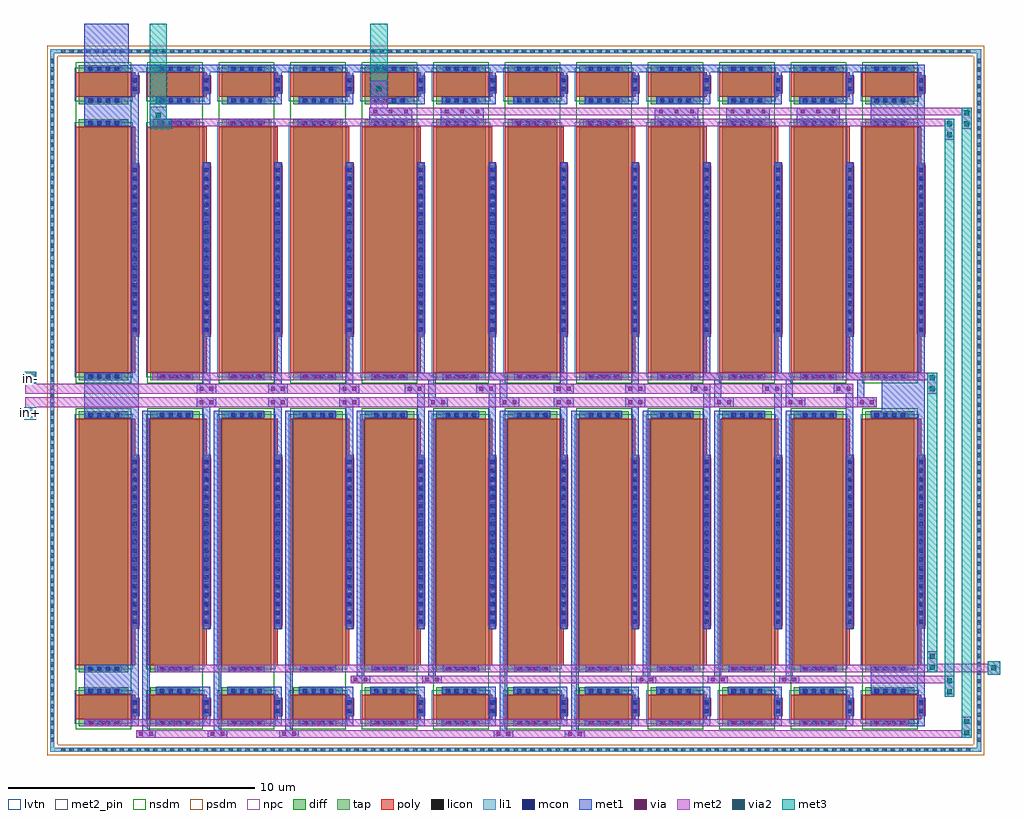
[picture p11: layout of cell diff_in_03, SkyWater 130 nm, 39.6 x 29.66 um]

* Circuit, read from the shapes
.subckt diff_in_03 in+ in-
XM1 n1 n1 n1 VSUBS sky130_fd_pr__nfet_01v8_lvt w=2 l=1 m=24
XM2 n1 n1 n1 VSUBS sky130_fd_pr__nfet_01v8_lvt w=2 l=10 m=4
XM3 n2 in+ n3 VSUBS sky130_fd_pr__nfet_01v8_lvt w=2 l=10 m=10
XM4 n4 in- n3 VSUBS sky130_fd_pr__nfet_01v8_lvt w=2 l=10 m=10
.ends

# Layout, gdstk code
from math import pi, radians
import gdstk
lib = gdstk.Library(unit=1e-6, precision=1e-09)
def R(c, l, rs):  # rectangles x0, y0, x1, y1
    for r in rs: c.add(gdstk.rectangle(r[:2], r[2:], *l))
def A(c, l, x, y, w, h, nx, ny, dx, dy):  # array of equal rectangles
    R(c, l, [(x+i*dx, y+j*dy, x+i*dx+w, y+j*dy+h) for i in range(nx) for j in range(ny)])
diff = (65, 20)
tap = (65, 44)
poly = (66, 20)
licon = (66, 44)
li1 = (67, 20)
mcon = (67, 44)
met1 = (68, 20)
via = (68, 44)
met2_pin = (69, 16)
met2 = (69, 20)
via2 = (69, 44)
met3 = (70, 20)
nsdm = (93, 44)
psdm = (94, 20)
npc = (95, 20)
lvtn = (125, 44)

sky130_fd_pr__nfet_01v8_ = lib.new_cell('sky130_fd_pr__nfet_01v8_lvt_VVFJJL')
R(sky130_fd_pr__nfet_01v8_, diff, [(-5.29,-1.155,5.29,0.845)])
R(sky130_fd_pr__nfet_01v8_, poly, [(-5,-1.285,5,1.12), (-3.525,1.12,3.525,1.285)])
A(sky130_fd_pr__nfet_01v8_, licon, -5.23, -0.75, 0.17, 0.17, 1, 4, 0, 0.34)
A(sky130_fd_pr__nfet_01v8_, licon, 5.06, -0.75, 0.17, 0.17, 1, 4, 0, 0.34)
A(sky130_fd_pr__nfet_01v8_, licon, -3.315, 1.035, 0.17, 0.17, 20, 1, 0.34, 0)
R(sky130_fd_pr__nfet_01v8_, li1, [(-5.23,-0.895,-5.06,0.585), (5.06,-0.895,5.23,0.585), (-3.525,1.035,3.525,1.205)])
A(sky130_fd_pr__nfet_01v8_, mcon, -5.23, -0.78, 0.17, 0.17, 1, 4, 0, 0.36)
A(sky130_fd_pr__nfet_01v8_, mcon, 5.06, -0.78, 0.17, 0.17, 1, 4, 0, 0.36)
A(sky130_fd_pr__nfet_01v8_, mcon, -3.325, 1.035, 0.17, 0.17, 19, 1, 0.36, 0)
R(sky130_fd_pr__nfet_01v8_, met1, [(-5.26,-0.875,-5.03,0.565), (5.03,-0.875,5.26,0.565), (-3.505,1.005,3.505,1.235)])
R(sky130_fd_pr__nfet_01v8_, nsdm, [(-5.415,-1.28,5.415,0.97)])
R(sky130_fd_pr__nfet_01v8_, npc, [(-3.415,0.935,3.415,1.305)])
R(sky130_fd_pr__nfet_01v8_, lvtn, [(-5.18,-1.335,5.18,1.025)])

c_sky130_fd_pr__nfet_01v8_ = lib.new_cell('sky130_fd_pr__nfet_01v8_lvt_ND6TEZ')
R(c_sky130_fd_pr__nfet_01v8_, diff, [(-0.79,-1.155,0.79,0.845)])
R(c_sky130_fd_pr__nfet_01v8_, poly, [(-0.5,-1.285,0.5,1.12), (-0.375,1.12,0.375,1.285)])
A(c_sky130_fd_pr__nfet_01v8_, licon, -0.73, -0.75, 0.17, 0.17, 1, 4, 0, 0.34)
A(c_sky130_fd_pr__nfet_01v8_, licon, 0.56, -0.75, 0.17, 0.17, 1, 4, 0, 0.34)
R(c_sky130_fd_pr__nfet_01v8_, licon, [(-0.255,1.035,-0.085,1.205), (0.085,1.035,0.255,1.205)])
R(c_sky130_fd_pr__nfet_01v8_, li1, [(-0.73,-0.895,-0.56,0.585), (0.56,-0.895,0.73,0.585), (-0.375,1.035,0.375,1.205)])
A(c_sky130_fd_pr__nfet_01v8_, mcon, -0.73, -0.78, 0.17, 0.17, 1, 4, 0, 0.36)
A(c_sky130_fd_pr__nfet_01v8_, mcon, 0.56, -0.78, 0.17, 0.17, 1, 4, 0, 0.36)
R(c_sky130_fd_pr__nfet_01v8_, mcon, [(-0.265,1.035,-0.095,1.205), (0.095,1.035,0.265,1.205)])
R(c_sky130_fd_pr__nfet_01v8_, met1, [(-0.76,-0.875,-0.53,0.565), (0.53,-0.875,0.76,0.565), (-0.355,1.005,0.355,1.235)])
R(c_sky130_fd_pr__nfet_01v8_, nsdm, [(-0.915,-1.28,0.915,0.97)])
R(c_sky130_fd_pr__nfet_01v8_, npc, [(-0.355,0.935,0.355,1.305)])
R(c_sky130_fd_pr__nfet_01v8_, lvtn, [(-0.68,-1.335,0.68,1.025)])

diff_in_03 = lib.new_cell('diff_in_03')
R(diff_in_03, diff, [(9.1,23.45,9.7,23.75), (9.1,23.75,9.6,23.9)])
R(diff_in_03, tap, [(-3.985,-3.235,33.785,-3.065), (-3.985,-3.065,-3.815,25.115), (33.615,-3.065,33.785,25.115), (-3.985,25.115,33.785,25.285)])
R(diff_in_03, poly, [(9.1,23.45,9.7,23.75), (9.1,23.75,9.6,23.9)])
A(diff_in_03, licon, -3.545, -3.235, 0.17, 0.17, 109, 2, 0.34, 28.35)
A(diff_in_03, licon, -3.985, -2.83, 0.17, 0.17, 1, 82, 0, 0.34)
A(diff_in_03, licon, 33.615, -2.83, 0.17, 0.17, 1, 82, 0, 0.34)
R(diff_in_03, li1, [(-3.985,-3.235,33.785,-3.065), (-3.985,-3.065,-3.815,25.115), (33.615,-3.065,33.785,25.115), (-3.985,25.115,33.785,25.285)])
A(diff_in_03, met1, -0.5, -2.65, 0.8, 0.3, 3, 1, 2.9, 0)
A(diff_in_03, met1, -0.25, -2.35, 0.3, 12.65, 3, 1, 2.9, 0)
A(diff_in_03, met1, -2.6, -2.2, 2.2, 0.3, 12, 1, 2.9, 0)
A(diff_in_03, met1, -0.7, -1.9, 0.3, 1, 12, 2, 2.9, 25.25)
A(diff_in_03, met1, 0.3, -0.9, 2.2, 0.3, 10, 1, 2.9, 0)
A(diff_in_03, met1, 19.8, -0.45, 0.8, 0.3, 3, 1, 2.9, 0)
A(diff_in_03, met1, 20.05, -0.15, 0.3, 10.45, 3, 1, 2.9, 0)
A(diff_in_03, met1, 0.35, 0, 1.45, 0.3, 10, 2, 2.9, 11.85)
A(diff_in_03, met1, 2.2, 1.75, 0.3, 9, 3, 2, 2.9, 9.95)
A(diff_in_03, met1, 22.5, 1.75, 0.3, 9.55, 3, 1, 2.9, 0)
A(diff_in_03, met1, -0.25, 10.3, 2.05, 0.3, 10, 1, 2.9, 0)
A(diff_in_03, met1, 1.95, 10.75, 0.8, 0.4, 3, 2, 2.9, 0.55)
A(diff_in_03, met1, 22.95, 10.75, 0.8, 0.4, 3, 1, 2.9, 0)
A(diff_in_03, met1, 22.95, 11.15, 0.3, 0.7, 3, 1, 2.9, 0)
A(diff_in_03, met1, 22, 11.3, 0.8, 0.4, 3, 1, 2.9, 0)
A(diff_in_03, met1, 22.5, 11.85, 0.75, 0.3, 3, 1, 2.9, 0)
A(diff_in_03, met1, 22.5, 12.15, 0.3, 8.55, 3, 1, 2.9, 0)
A(diff_in_03, met1, 0.3, 23.05, 2.2, 0.3, 3, 1, 2.9, 0)
A(diff_in_03, met1, 11.9, 23.05, 2.2, 0.3, 6, 1, 2.9, 0)
R(diff_in_03, met1, [(14,-2.65,14.8,-2.35), (16.9,-2.65,17.7,-2.35), (14.25,-2.35,14.55,10.3), (17.15,-2.35,17.45,10.3), (-2.6,-0.9,-0.4,0.3), (29.3,-0.9,31.5,0.3), (8.2,-0.45,9,-0.15), (11.1,-0.45,11.9,-0.15), (8.45,-0.15,8.75,10.3), (11.35,-0.15,11.65,10.3), (-0.7,0.3,-0.4,10.3), (31.2,0.3,31.5,10.3), (10.9,1.75,11.2,11.3), (13.8,1.75,14.1,11.3), (16.7,1.75,17,10.75), (19.6,1.75,19.9,10.75), (-2.6,10.3,-0.4,12.15), (29.3,10.3,31.5,10.6), (29.75,10.6,31.5,11.85), (11.35,10.75,12.15,11.15), (14.25,10.75,15.05,11.15), (16.45,10.75,17.25,11.15), (19.35,10.75,20.15,11.15), (11.35,11.15,11.65,11.85), (14.25,11.15,14.55,11.85), (10.4,11.3,11.2,11.7), (13.3,11.3,14.1,11.7), (16.45,11.3,17.25,11.7), (19.35,11.3,20.15,11.7), (16.7,11.7,17,20.7), (19.6,11.7,19.9,20.7), (10.9,11.85,11.65,12.15), (13.8,11.85,14.55,12.15), (29.3,11.85,31.5,12.15), (-0.7,12.15,-0.4,22.15), (10.9,12.15,11.2,20.7), (13.8,12.15,14.1,20.7), (31.2,12.15,31.5,22.15), (-2.6,22.15,-0.4,23.35), (0.2,22.15,1.95,22.45), (3.15,22.15,4.9,22.45), (6.05,22.15,7.8,22.45), (8.95,22.15,10.7,22.9), (11.85,22.15,13.6,22.9), (14.75,22.15,16.5,22.45), (17.65,22.15,19.4,22.45), (20.55,22.15,22.3,22.9), (23.45,22.15,25.2,22.9), (26.3,22.15,28.05,22.9), (29.3,22.15,31.5,23.35), (9,23.05,9.7,23.35), (10.05,23.05,11.2,23.35), (-2.6,24.35,31.5,24.65), (-2.6,24.65,-0.8,26.3)])
A(diff_in_03, via, -2.375, -2.125, 0.15, 0.15, 3, 1, 0.5, 0)
A(diff_in_03, via, 0.525, -2.125, 0.15, 0.15, 3, 1, 0.5, 0)
A(diff_in_03, via, 3.425, -2.125, 0.15, 0.15, 3, 1, 0.5, 0)
A(diff_in_03, via, 6.325, -2.125, 0.15, 0.15, 3, 1, 0.5, 0)
A(diff_in_03, via, 9.225, -2.125, 0.15, 0.15, 3, 1, 0.5, 0)
A(diff_in_03, via, 12.125, -2.125, 0.15, 0.15, 3, 1, 0.5, 0)
A(diff_in_03, via, 15.025, -2.125, 0.15, 0.15, 3, 1, 0.5, 0)
A(diff_in_03, via, 17.925, -2.125, 0.15, 0.15, 3, 1, 0.5, 0)
A(diff_in_03, via, 20.825, -2.125, 0.15, 0.15, 3, 1, 0.5, 0)
A(diff_in_03, via, 23.725, -2.125, 0.15, 0.15, 3, 1, 0.5, 0)
A(diff_in_03, via, 26.575, -2.125, 0.15, 0.15, 3, 1, 0.5, 0)
A(diff_in_03, via, 29.475, -2.125, 0.15, 0.15, 3, 1, 0.5, 0)
A(diff_in_03, via, 0.525, 0.075, 0.15, 0.15, 3, 2, 0.475, 11.85)
A(diff_in_03, via, 3.425, 0.075, 0.15, 0.15, 3, 2, 0.475, 11.85)
A(diff_in_03, via, 6.325, 0.075, 0.15, 0.15, 3, 2, 0.475, 11.85)
A(diff_in_03, via, 9.225, 0.075, 0.15, 0.15, 3, 2, 0.475, 11.85)
A(diff_in_03, via, 12.125, 0.075, 0.15, 0.15, 3, 2, 0.475, 11.85)
A(diff_in_03, via, 15.025, 0.075, 0.15, 0.15, 3, 2, 0.475, 11.85)
A(diff_in_03, via, 17.925, 0.075, 0.15, 0.15, 3, 2, 0.475, 11.85)
A(diff_in_03, via, 20.825, 0.075, 0.15, 0.15, 3, 2, 0.475, 11.85)
A(diff_in_03, via, 23.725, 0.075, 0.15, 0.15, 3, 2, 0.475, 11.85)
A(diff_in_03, via, 26.625, 0.075, 0.15, 0.15, 3, 2, 0.475, 11.85)
A(diff_in_03, via, 0.375, 22.225, 0.15, 0.15, 3, 1, 0.625, 0)
A(diff_in_03, via, 3.325, 22.225, 0.15, 0.15, 3, 1, 0.625, 0)
A(diff_in_03, via, 6.225, 22.225, 0.15, 0.15, 3, 1, 0.625, 0)
A(diff_in_03, via, 14.925, 22.225, 0.15, 0.15, 3, 1, 0.625, 0)
A(diff_in_03, via, 17.825, 22.225, 0.15, 0.15, 3, 1, 0.625, 0)
A(diff_in_03, via, 9.125, 22.675, 0.15, 0.15, 3, 1, 0.625, 0)
A(diff_in_03, via, 12.025, 22.675, 0.15, 0.15, 3, 1, 0.625, 0)
A(diff_in_03, via, 20.725, 22.675, 0.15, 0.15, 3, 1, 0.625, 0)
A(diff_in_03, via, 23.625, 22.675, 0.15, 0.15, 3, 1, 0.625, 0)
A(diff_in_03, via, 26.475, 22.675, 0.15, 0.15, 3, 1, 0.625, 0)
R(diff_in_03, via, [(-0.375,-2.575,-0.225,-2.425), (0.025,-2.575,0.175,-2.425), (2.525,-2.575,2.675,-2.425), (2.925,-2.575,3.075,-2.425), (5.425,-2.575,5.575,-2.425), (5.825,-2.575,5.975,-2.425), (14.125,-2.575,14.275,-2.425), (14.525,-2.575,14.675,-2.425), (17.025,-2.575,17.175,-2.425), (17.425,-2.575,17.575,-2.425), (8.325,-0.375,8.475,-0.225), (8.725,-0.375,8.875,-0.225), (11.225,-0.375,11.375,-0.225), (11.625,-0.375,11.775,-0.225), (19.925,-0.375,20.075,-0.225), (20.325,-0.375,20.475,-0.225), (22.825,-0.375,22.975,-0.225), (23.225,-0.375,23.375,-0.225), (25.725,-0.375,25.875,-0.225), (26.125,-0.375,26.275,-0.225), (2.075,10.875,2.225,11.025), (2.475,10.875,2.625,11.025), (4.975,10.875,5.125,11.025), (5.375,10.875,5.525,11.025), (7.875,10.875,8.025,11.025), (8.275,10.875,8.425,11.025), (11.475,10.875,11.625,11.025), (11.875,10.875,12.025,11.025), (14.375,10.875,14.525,11.025), (14.775,10.875,14.925,11.025), (16.575,10.875,16.725,11.025), (16.975,10.875,17.125,11.025), (19.475,10.875,19.625,11.025), (19.875,10.875,20.025,11.025), (23.075,10.875,23.225,11.025), (23.475,10.875,23.625,11.025), (25.975,10.875,26.125,11.025), (26.375,10.875,26.525,11.025), (28.875,10.875,29.025,11.025), (29.275,10.875,29.425,11.025), (2.075,11.425,2.225,11.575), (2.475,11.425,2.625,11.575), (4.975,11.425,5.125,11.575), (5.375,11.425,5.525,11.575), (7.875,11.425,8.025,11.575), (8.275,11.425,8.425,11.575), (10.525,11.425,10.675,11.575), (10.925,11.425,11.075,11.575), (13.425,11.425,13.575,11.575), (13.825,11.425,13.975,11.575), (16.575,11.425,16.725,11.575), (16.975,11.425,17.125,11.575), (19.475,11.425,19.625,11.575), (19.875,11.425,20.025,11.575), (22.125,11.425,22.275,11.575), (22.525,11.425,22.675,11.575), (25.025,11.425,25.175,11.575), (25.425,11.425,25.575,11.575), (27.925,11.425,28.075,11.575), (28.325,11.425,28.475,11.575)])
R(diff_in_03, met2_pin, [(-5,10.35,-4.6,10.75), (-5,11.7,-4.6,12.1)])
R(diff_in_03, met2, [(-0.5,-2.65,33.4,-2.35), (33,-2.35,33.4,-1.8), (-2.6,-2.2,30.85,-1.9), (32.3,-1,32.7,-0.45), (8.2,-0.45,32.7,-0.15), (34.05,-0.1,34.55,0), (0.25,0,34.55,0.3), (31.6,0.3,34.55,0.35), (31.6,0.35,32,0.85), (34.05,0.35,34.55,0.45), (-5.05,10.25,-4.55,10.75), (-5,10.75,29.55,11.15), (-5,11.3,28.6,11.7), (31.6,11.3,32,11.85), (-5.05,11.7,-4.55,12.2), (0.15,11.85,32,12.15), (32.3,21.6,32.7,22.15), (33,22.05,33.4,22.6), (0.05,22.15,32.7,22.45), (0.05,22.45,0.75,22.95), (8.95,22.6,33.4,22.9), (9,22.9,9.7,24)])
R(diff_in_03, via2, [(33.1,-2.55,33.3,-2.35), (33.1,-2.1,33.3,-1.9), (32.4,-0.9,32.6,-0.7), (32.4,-0.45,32.6,-0.25), (34.2,0.075,34.4,0.275), (31.7,0.1,31.9,0.3), (31.7,0.55,31.9,0.75), (-4.9,10.4,-4.7,10.6), (31.7,11.4,31.9,11.6), (-4.9,11.85,-4.7,12.05), (31.7,11.85,31.9,12.05), (32.4,21.7,32.6,21.9), (32.4,22.15,32.6,22.35), (33.1,22.15,33.3,22.35), (0.3,22.5,0.5,22.7), (33.1,22.6,33.3,22.8), (9.25,23.575,9.45,23.775)])
R(diff_in_03, met3, [(33,-2.65,33.4,22.9), (32.3,-1,32.7,22.45), (34.05,-0.1,34.55,0.45), (31.6,0,32,12.15), (-5.05,10.25,-4.55,10.75), (-5.05,11.7,-4.55,12.2), (0.05,22.05,0.95,22.45), (0.05,22.45,0.75,26.3), (9,23.34,9.7,26.3)])
A(diff_in_03, nsdm, -2.945, -0.495, 2.25, 0.37, 12, 2, 2.9, 23.05)
R(diff_in_03, nsdm, [(8.975,23.325,9.825,23.875), (8.975,23.875,9.725,24.025)])
R(diff_in_03, psdm, [(-4.11,-3.36,33.91,-2.94), (-4.11,-2.94,-3.69,24.99), (33.49,-2.94,33.91,24.99), (-4.11,24.99,33.91,25.41)])
R(diff_in_03, lvtn, [(8.92,23.27,9.88,23.93), (8.92,23.93,9.78,24.08)])
diff_in_03.add(gdstk.Reference(sky130_fd_pr__nfet_01v8_, (-1.665,5.29), rotation=3*pi/2))
diff_in_03.add(gdstk.Reference(c_sky130_fd_pr__nfet_01v8_, (-1.665,-1.41), rotation=3*pi/2))
diff_in_03.add(gdstk.Reference(sky130_fd_pr__nfet_01v8_, (1.235,5.29), rotation=3*pi/2))
diff_in_03.add(gdstk.Reference(c_sky130_fd_pr__nfet_01v8_, (1.235,-1.41), rotation=3*pi/2))
diff_in_03.add(gdstk.Reference(sky130_fd_pr__nfet_01v8_, (4.135,5.29), rotation=3*pi/2))
diff_in_03.add(gdstk.Reference(c_sky130_fd_pr__nfet_01v8_, (4.135,-1.41), rotation=3*pi/2))
diff_in_03.add(gdstk.Reference(sky130_fd_pr__nfet_01v8_, (7.035,5.29), rotation=3*pi/2))
diff_in_03.add(gdstk.Reference(c_sky130_fd_pr__nfet_01v8_, (7.035,-1.41), rotation=3*pi/2))
diff_in_03.add(gdstk.Reference(sky130_fd_pr__nfet_01v8_, (9.935,5.29), rotation=3*pi/2))
diff_in_03.add(gdstk.Reference(c_sky130_fd_pr__nfet_01v8_, (9.935,-1.41), rotation=3*pi/2))
diff_in_03.add(gdstk.Reference(sky130_fd_pr__nfet_01v8_, (12.835,5.29), rotation=3*pi/2))
diff_in_03.add(gdstk.Reference(c_sky130_fd_pr__nfet_01v8_, (12.835,-1.41), rotation=3*pi/2))
diff_in_03.add(gdstk.Reference(sky130_fd_pr__nfet_01v8_, (15.735,5.29), rotation=3*pi/2))
diff_in_03.add(gdstk.Reference(c_sky130_fd_pr__nfet_01v8_, (15.735,-1.41), rotation=3*pi/2))
diff_in_03.add(gdstk.Reference(sky130_fd_pr__nfet_01v8_, (18.635,5.29), rotation=3*pi/2))
diff_in_03.add(gdstk.Reference(c_sky130_fd_pr__nfet_01v8_, (18.635,-1.41), rotation=3*pi/2))
diff_in_03.add(gdstk.Reference(sky130_fd_pr__nfet_01v8_, (21.535,5.29), rotation=3*pi/2))
diff_in_03.add(gdstk.Reference(c_sky130_fd_pr__nfet_01v8_, (21.535,-1.41), rotation=3*pi/2))
diff_in_03.add(gdstk.Reference(sky130_fd_pr__nfet_01v8_, (24.435,5.29), rotation=3*pi/2))
diff_in_03.add(gdstk.Reference(c_sky130_fd_pr__nfet_01v8_, (24.435,-1.41), rotation=3*pi/2))
diff_in_03.add(gdstk.Reference(sky130_fd_pr__nfet_01v8_, (27.335,5.29), rotation=3*pi/2))
diff_in_03.add(gdstk.Reference(c_sky130_fd_pr__nfet_01v8_, (27.335,-1.41), rotation=3*pi/2))
diff_in_03.add(gdstk.Reference(sky130_fd_pr__nfet_01v8_, (30.235,5.29), rotation=3*pi/2))
diff_in_03.add(gdstk.Reference(c_sky130_fd_pr__nfet_01v8_, (30.235,-1.41), rotation=3*pi/2))
diff_in_03.add(gdstk.Reference(sky130_fd_pr__nfet_01v8_, (-1.665,17.14), rotation=3*pi/2))
diff_in_03.add(gdstk.Reference(sky130_fd_pr__nfet_01v8_, (1.235,17.14), rotation=3*pi/2))
diff_in_03.add(gdstk.Reference(sky130_fd_pr__nfet_01v8_, (4.135,17.14), rotation=3*pi/2))
diff_in_03.add(gdstk.Reference(sky130_fd_pr__nfet_01v8_, (7.035,17.14), rotation=3*pi/2))
diff_in_03.add(gdstk.Reference(sky130_fd_pr__nfet_01v8_, (9.935,17.14), rotation=3*pi/2))
diff_in_03.add(gdstk.Reference(sky130_fd_pr__nfet_01v8_, (12.835,17.14), rotation=3*pi/2))
diff_in_03.add(gdstk.Reference(sky130_fd_pr__nfet_01v8_, (15.735,17.14), rotation=3*pi/2))
diff_in_03.add(gdstk.Reference(sky130_fd_pr__nfet_01v8_, (18.635,17.14), rotation=3*pi/2))
diff_in_03.add(gdstk.Reference(sky130_fd_pr__nfet_01v8_, (21.535,17.14), rotation=3*pi/2))
diff_in_03.add(gdstk.Reference(sky130_fd_pr__nfet_01v8_, (24.435,17.14), rotation=3*pi/2))
diff_in_03.add(gdstk.Reference(sky130_fd_pr__nfet_01v8_, (27.335,17.14), rotation=3*pi/2))
diff_in_03.add(gdstk.Reference(sky130_fd_pr__nfet_01v8_, (30.235,17.14), rotation=3*pi/2))
diff_in_03.add(gdstk.Reference(c_sky130_fd_pr__nfet_01v8_, (-1.665,23.84), rotation=3*pi/2))
diff_in_03.add(gdstk.Reference(c_sky130_fd_pr__nfet_01v8_, (1.235,23.84), rotation=3*pi/2))
diff_in_03.add(gdstk.Reference(c_sky130_fd_pr__nfet_01v8_, (4.135,23.84), rotation=3*pi/2))
diff_in_03.add(gdstk.Reference(c_sky130_fd_pr__nfet_01v8_, (7.035,23.84), rotation=3*pi/2))
diff_in_03.add(gdstk.Reference(c_sky130_fd_pr__nfet_01v8_, (9.935,23.84), rotation=3*pi/2))
diff_in_03.add(gdstk.Reference(c_sky130_fd_pr__nfet_01v8_, (12.835,23.84), rotation=3*pi/2))
diff_in_03.add(gdstk.Reference(c_sky130_fd_pr__nfet_01v8_, (15.735,23.84), rotation=3*pi/2))
diff_in_03.add(gdstk.Reference(c_sky130_fd_pr__nfet_01v8_, (18.635,23.84), rotation=3*pi/2))
diff_in_03.add(gdstk.Reference(c_sky130_fd_pr__nfet_01v8_, (21.535,23.84), rotation=3*pi/2))
diff_in_03.add(gdstk.Reference(c_sky130_fd_pr__nfet_01v8_, (24.435,23.84), rotation=3*pi/2))
diff_in_03.add(gdstk.Reference(c_sky130_fd_pr__nfet_01v8_, (27.335,23.84), rotation=3*pi/2))
diff_in_03.add(gdstk.Reference(c_sky130_fd_pr__nfet_01v8_, (30.235,23.84), rotation=3*pi/2))
diff_in_03.add(gdstk.Label('in-', (-4.8,11.9), layer=69, texttype=5))
diff_in_03.add(gdstk.Label('in+', (-4.8,10.55), layer=69, texttype=5))

lib.write_gds('diff_in_03.gds')
